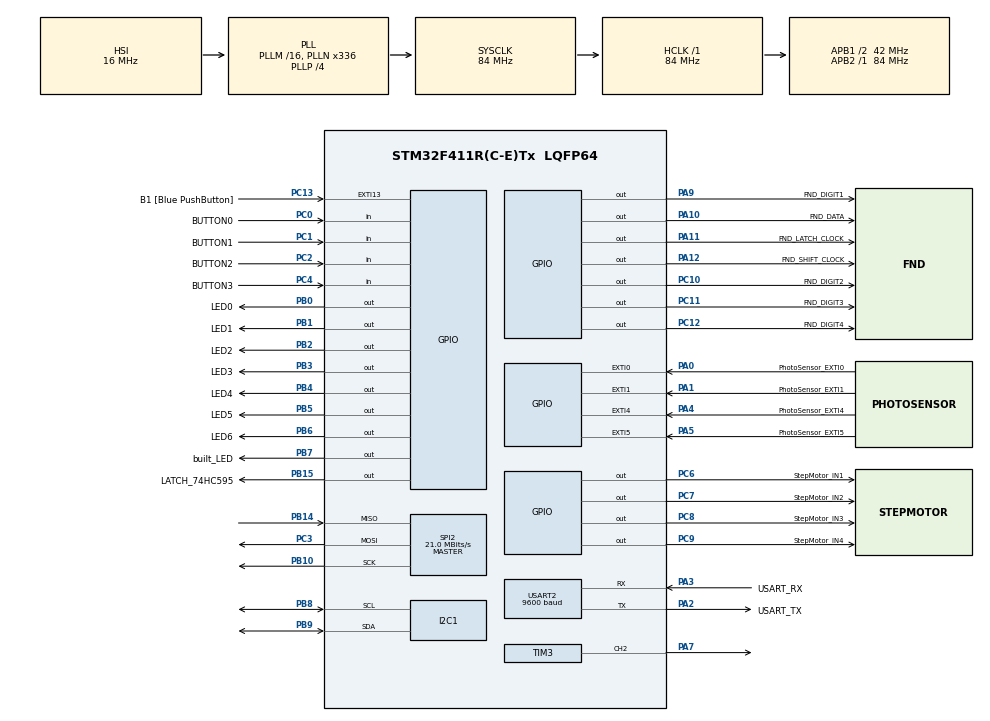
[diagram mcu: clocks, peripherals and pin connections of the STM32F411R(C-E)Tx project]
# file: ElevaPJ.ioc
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FREERTOS.Mutexes01=mutex_lcd,Dynamic,NULL
FREERTOS.Tasks01=defaultTask,24,128,StartDefaultTask,Default,NULL,Dynamic,NULL,NULL;StepMotorTask,8,128,ctrl_stepmotor,Default,NULL,Dynamic,NULL,NULL;DotMatrixTask,8,128,ctrl_dotmatrix,Default,NULL,Dynamic,NULL,NULL;FndTask,8,128,ctrl_fnd,Default,NULL,Dynamic,NULL,NULL;ServoMotorTask,8,128,ctrl_servomotor,Default,NULL,Dynamic,NULL,NULL
FREERTOS.configUSE_NEWLIB_REENTRANT=1
Mcu.Family=STM32F4
Mcu.Name=STM32F411R(C-E)Tx
Mcu.Package=LQFP64
NVIC.EXTI0_IRQn=true\:5\:0\:false\:false\:true\:true\:true\:true
NVIC.EXTI1_IRQn=true\:5\:0\:false\:false\:true\:true\:true\:true
NVIC.EXTI4_IRQn=true\:5\:0\:false\:false\:true\:true\:true\:true
NVIC.EXTI9_5_IRQn=true\:5\:0\:false\:false\:true\:true\:true\:true
NVIC.PriorityGroup=NVIC_PRIORITYGROUP_4
NVIC.TIM1_TRG_COM_TIM11_IRQn=true\:5\:0\:false\:false\:true\:true\:true\:true
NVIC.TIM1_UP_TIM10_IRQn=true\:5\:0\:false\:false\:true\:false\:false\:true
NVIC.TIM2_IRQn=true\:5\:0\:false\:false\:true\:true\:true\:true
NVIC.TIM3_IRQn=true\:5\:0\:false\:false\:true\:true\:true\:true
NVIC.TimeBase=TIM1_UP_TIM10_IRQn
NVIC.TimeBaseIP=TIM10
NVIC.USART2_IRQn=true\:5\:0\:false\:false\:true\:true\:true\:true
PA0-WKUP.GPIO_Label=PhotoSensor_EXTI0
PA0-WKUP.Signal=GPXTI0
PA1.GPIO_Label=PhotoSensor_EXTI1
PA1.Signal=GPXTI1
PA10.GPIO_Label=FND_DATA
PA10.Signal=GPIO_Output
PA11.GPIO_Label=FND_LATCH_CLOCK
PA11.Signal=GPIO_Output
PA12.GPIO_Label=FND_SHIFT_CLOCK
PA12.Signal=GPIO_Output
PA13.GPIO_Label=TMS
PA13.Mode=Serial_Wire
PA13.Signal=SYS_JTMS-SWDIO
PA14.GPIO_Label=TCK
PA14.Mode=Serial_Wire
PA14.Signal=SYS_JTCK-SWCLK
PA2.GPIO_Label=USART_TX
PA2.Mode=Asynchronous
PA2.Signal=USART2_TX
PA3.GPIO_Label=USART_RX
PA3.Mode=Asynchronous
PA3.Signal=USART2_RX
PA4.GPIO_Label=PhotoSensor_EXTI4
PA4.Signal=GPXTI4
PA5.GPIO_Label=PhotoSensor_EXTI5
PA5.Signal=GPXTI5
PA7.Signal=S_TIM3_CH2
PA9.GPIO_Label=FND_DIGIT1
PA9.Signal=GPIO_Output
PB0.GPIO_Label=LED0
PB0.Signal=GPIO_Output
PB1.GPIO_Label=LED1
PB1.Signal=GPIO_Output
PB10.Mode=Full_Duplex_Master
PB10.Signal=SPI2_SCK
PB14.Mode=Full_Duplex_Master
PB14.Signal=SPI2_MISO
PB15.GPIO_Label=LATCH_74HC595
PB15.Signal=GPIO_Output
PB2.GPIO_Label=LED2
PB2.Signal=GPIO_Output
PB3.GPIO_Label=LED3
PB3.Signal=GPIO_Output
PB4.GPIO_Label=LED4
PB4.Signal=GPIO_Output
PB5.GPIO_Label=LED5
PB5.Signal=GPIO_Output
PB6.GPIO_Label=LED6
PB6.Signal=GPIO_Output
PB7.GPIO_Label=built_LED
PB7.Signal=GPIO_Output
PB8.Mode=I2C
PB8.Signal=I2C1_SCL
PB9.Mode=I2C
PB9.Signal=I2C1_SDA
PC0.GPIO_Label=BUTTON0
PC0.Signal=GPIO_Input
PC1.GPIO_Label=BUTTON1
PC1.Signal=GPIO_Input
PC10.GPIO_Label=FND_DIGIT2
PC10.Signal=GPIO_Output
PC11.GPIO_Label=FND_DIGIT3
PC11.Signal=GPIO_Output
PC12.GPIO_Label=FND_DIGIT4
PC12.Signal=GPIO_Output
PC13-ANTI_TAMP.GPIO_Label=B1 [Blue PushButton]
PC13-ANTI_TAMP.GPIO_ModeDefaultEXTI=GPIO_MODE_IT_FALLING
PC13-ANTI_TAMP.Signal=GPXTI13
PC14-OSC32_IN.Mode=LSE-External-Oscillator
PC14-OSC32_IN.Signal=RCC_OSC32_IN
PC15-OSC32_OUT.Mode=LSE-External-Oscillator
PC15-OSC32_OUT.Signal=RCC_OSC32_OUT
PC2.GPIO_Label=BUTTON2
PC2.Signal=GPIO_Input
PC3.Mode=Full_Duplex_Master
PC3.Signal=SPI2_MOSI
PC4.GPIO_Label=BUTTON3
PC4.Signal=GPIO_Input
PC6.GPIO_Label=StepMotor_IN1
PC6.Signal=GPIO_Output
PC7.GPIO_Label=StepMotor_IN2
PC7.Signal=GPIO_Output
PC8.GPIO_Label=StepMotor_IN3
PC8.Signal=GPIO_Output
PC9.GPIO_Label=StepMotor_IN4
PC9.Signal=GPIO_Output
PH0\ -\ OSC_IN.Mode=HSE-External-Clock-Source
PH0\ -\ OSC_IN.Signal=RCC_OSC_IN
PH1\ -\ OSC_OUT.Mode=HSE-External-Clock-Source
PH1\ -\ OSC_OUT.Signal=RCC_OSC_OUT
ProjectManager.HeapSize=0x200
ProjectManager.StackSize=0x400
ProjectManager.TargetToolchain=STM32CubeIDE
RCC.48MHZClocksFreq_Value=84000000
RCC.AHBFreq_Value=84000000
RCC.APB1CLKDivider=RCC_HCLK_DIV2
RCC.APB1Freq_Value=42000000
RCC.APB1TimFreq_Value=84000000
RCC.APB2Freq_Value=84000000
RCC.APB2TimFreq_Value=84000000
RCC.CortexFreq_Value=84000000
RCC.FLatency-AdvancedSettings=FLASH_LATENCY_2
RCC.HCLKFreq_Value=84000000
RCC.HSE_VALUE=8000000
RCC.HSI_VALUE=16000000
RCC.PLLN=336
RCC.PLLP=RCC_PLLP_DIV4
RCC.SYSCLKFreq_VALUE=84000000
RCC.SYSCLKSource=RCC_SYSCLKSOURCE_PLLCLK
RCC.VCOOutputFreq_Value=336000000
RTC.Date=24
RTC.Hours=13
RTC.Minutes=22
RTC.Month=RTC_MONTH_MAY
RTC.WeekDay=RTC_WEEKDAY_FRIDAY
RTC.Year=24
SH.S_TIM3_CH2.0=TIM3_CH2,PWM Generation2 CH2
SPI2.CalculateBaudRate=21.0 MBits/s
SPI2.Direction=SPI_DIRECTION_2LINES
SPI2.Mode=SPI_MODE_MASTER
SPI2.VirtualType=VM_MASTER
TIM11.Period=65535
TIM11.Prescaler=84-1
TIM2.Period=1000-1
TIM2.Prescaler=84-1
TIM3.Channel-PWM\ Generation2\ CH2=TIM_CHANNEL_2
TIM3.Period=1000-1
TIM3.Prescaler=1680-1
USART2.BaudRate=9600
USART2.VirtualMode=VM_ASYNC
VP_FREERTOS_VS_CMSIS_V2.Mode=CMSIS_V2
VP_RTC_VS_RTC_Activate.Mode=RTC_Enabled
VP_RTC_VS_RTC_Calendar.Mode=RTC_Calendar
VP_SYS_VS_tim10.Mode=TIM10
VP_TIM11_VS_ClockSourceINT.Mode=Enable_Timer
VP_TIM2_VS_ClockSourceINT.Mode=Internal
VP_TIM3_VS_ClockSourceINT.Mode=Internal
board=NUCLEO-F411RE

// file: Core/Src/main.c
/* USER CODE BEGIN Header */
/**
  ******************************************************************************
  * @file           : main.c
  * @brief          : Main program body
  ******************************************************************************
  * @attention
  *
  * <h2><center>&copy; Copyright (c) 2024 STMicroelectronics.
  * All rights reserved.</center></h2>
  *
  * This software component is licensed by ST under BSD 3-Clause license,
  * the "License"; You may not use this file except in compliance with the
  * License. You may obtain a copy of the License at:
  *                        opensource.org/licenses/BSD-3-Clause
  *
  ******************************************************************************
  */
/* USER CODE END Header */
#include "main.h"
#include "cmsis_os.h"

/* USER CODE BEGIN Includes */
#include "def.h"
#include "extern.h"
#include "button.h"
#include "elevator.h"
#include "fnd.h"
/* USER CODE END Includes */

I2C_HandleTypeDef hi2c1;

RTC_HandleTypeDef hrtc;

SPI_HandleTypeDef hspi2;

TIM_HandleTypeDef htim2;
TIM_HandleTypeDef htim3;
TIM_HandleTypeDef htim11;

UART_HandleTypeDef huart2;

/* Definitions for defaultTask */
osThreadId_t defaultTaskHandle;
const osThreadAttr_t defaultTask_attributes = {
  .name = "defaultTask",
  .stack_size = 128 * 4,
  .priority = (osPriority_t) osPriorityNormal,
};
/* Definitions for StepMotorTask */
osThreadId_t StepMotorTaskHandle;
const osThreadAttr_t StepMotorTask_attributes = {
  .name = "StepMotorTask",
  .stack_size = 128 * 4,
  .priority = (osPriority_t) osPriorityLow,
};
/* Definitions for DotMatrixTask */
osThreadId_t DotMatrixTaskHandle;
const osThreadAttr_t DotMatrixTask_attributes = {
  .name = "DotMatrixTask",
  .stack_size = 128 * 4,
  .priority = (osPriority_t) osPriorityLow,
};
/* Definitions for FndTask */
osThreadId_t FndTaskHandle;
const osThreadAttr_t FndTask_attributes = {
  .name = "FndTask",
  .stack_size = 128 * 4,
  .priority = (osPriority_t) osPriorityLow,
};
/* Definitions for ServoMotorTask */
osThreadId_t ServoMotorTaskHandle;
const osThreadAttr_t ServoMotorTask_attributes = {
  .name = "ServoMotorTask",
  .stack_size = 128 * 4,
  .priority = (osPriority_t) osPriorityLow,
};
/* Definitions for mutex_lcd */
osMutexId_t mutex_lcdHandle;
const osMutexAttr_t mutex_lcd_attributes = {
  .name = "mutex_lcd"
};
/* USER CODE BEGIN PV */
uint8_t rx_data;

volatile int TIM2_1ms_counter=0;
volatile int TIM2_1ms_DOT_counter=0;
volatile int TIM2_1ms_FND_counter=0;
volatile int TIM2_74HC595_counter=0;
volatile int TIM2_servo_open_time=0;
volatile int TIM2_off_servo_time = 0;

/* USER CODE END PV */

void SystemClock_Config(void);
static void MX_GPIO_Init(void);
static void MX_USART2_UART_Init(void);
static void MX_TIM11_Init(void);
static void MX_TIM2_Init(void);
static void MX_RTC_Init(void);
static void MX_I2C1_Init(void);
static void MX_SPI2_Init(void);
static void MX_TIM3_Init(void);
void StartDefaultTask(void *argument);
void ctrl_stepmotor(void *argument);
void ctrl_dotmatrix(void *argument);
void ctrl_fnd(void *argument);
void ctrl_servomotor(void *argument);

/* USER CODE BEGIN 0 */
//-- call by SysTick_Handler of stm32f4xx_it.c
// SysTick_Handler : ARM core default timer
volatile int t1ms_counter=0;
void HAL_SYSTICK_Handler()
{
	t1ms_counter++;   // 1ms timer counter
}
//------------ printf start -----------------------
#ifdef __GNUC__    // Add for printf
/* With GCC, small printf (option LD Linker->Libraries->Small printf
   set to 'Yes') calls __io_putchar() */
#define PUTCHAR_PROTOTYPE int __io_putchar(int ch)
#else
#define PUTCHAR_PROTOTYPE int fputc(int ch, FILE *f)
#endif /* __GNUC__ */
/**
  * @brief  Retargets the C library printf function to the USART.
  * @param  None
  * @retval None
  */
PUTCHAR_PROTOTYPE   // Add for printf
{
  /* Place your implementation of fputc here */
  /* e.g. write a character to the USART2 and Loop until the end of transmission */
  HAL_UART_Transmit(&huart2, (uint8_t *)&ch, 1, 0xFFFF);

  return ch;
}
//-------------------- printf end --------------------
/* USER CODE END 0 */

int main(void)
{

  /* MCU Configuration--------------------------------------------------------*/

  /* Reset of all peripherals, Initializes the Flash interface and the Systick. */
  HAL_Init();

  /* Configure the system clock */
  SystemClock_Config();

  /* Initialize all configured peripherals */
  MX_GPIO_Init();
  MX_USART2_UART_Init();
  MX_TIM11_Init();
  MX_TIM2_Init();
  MX_RTC_Init();
  MX_I2C1_Init();
  MX_SPI2_Init();
  MX_TIM3_Init();
  /* USER CODE BEGIN 2 */
  HAL_UART_Receive_IT(&huart2, &rx_data, 1);   // assign RX INT
  HAL_TIM_Base_Start_IT(&htim2);  // ADD_MIKE_0523
  HAL_TIM_Base_Start_IT(&htim11);  // ADD_MIKE_0523
  HAL_TIM_PWM_Start(&htim3, TIM_CHANNEL_2); // ADD_PWM_SERVO_MOTOR

  /* USER CODE END 2 */

  /* Init scheduler */
  osKernelInitialize();
  /* Create the mutex(es) */
  /* creation of mutex_lcd */
  mutex_lcdHandle = osMutexNew(&mutex_lcd_attributes);

  /* Create the thread(s) */
  /* creation of defaultTask */
  defaultTaskHandle = osThreadNew(StartDefaultTask, NULL, &defaultTask_attributes);

  /* creation of StepMotorTask */
  StepMotorTaskHandle = osThreadNew(ctrl_stepmotor, NULL, &StepMotorTask_attributes);

  /* creation of DotMatrixTask */
  DotMatrixTaskHandle = osThreadNew(ctrl_dotmatrix, NULL, &DotMatrixTask_attributes);

  /* creation of FndTask */
  FndTaskHandle = osThreadNew(ctrl_fnd, NULL, &FndTask_attributes);

  /* creation of ServoMotorTask */
  ServoMotorTaskHandle = osThreadNew(ctrl_servomotor, NULL, &ServoMotorTask_attributes);

  /* Start scheduler */
  osKernelStart();

  /* We should never get here as control is now taken by the scheduler */
  /* Infinite loop */
  while (1)
  {

  }
}

void SystemClock_Config(void)
{
  RCC_OscInitTypeDef RCC_OscInitStruct = {0};
  RCC_ClkInitTypeDef RCC_ClkInitStruct = {0};

  /** Configure the main internal regulator output voltage
  */
  __HAL_RCC_PWR_CLK_ENABLE();
  __HAL_PWR_VOLTAGESCALING_CONFIG(PWR_REGULATOR_VOLTAGE_SCALE1);
  /** Initializes the RCC Oscillators according to the specified parameters
  * in the RCC_OscInitTypeDef structure.
  */
  RCC_OscInitStruct.OscillatorType = RCC_OSCILLATORTYPE_HSI|RCC_OSCILLATORTYPE_LSI;
  RCC_OscInitStruct.HSIState = RCC_HSI_ON;
  RCC_OscInitStruct.HSICalibrationValue = RCC_HSICALIBRATION_DEFAULT;
  RCC_OscInitStruct.LSIState = RCC_LSI_ON;
  RCC_OscInitStruct.PLL.PLLState = RCC_PLL_ON;
  RCC_OscInitStruct.PLL.PLLSource = RCC_PLLSOURCE_HSI;
  RCC_OscInitStruct.PLL.PLLM = 16;
  RCC_OscInitStruct.PLL.PLLN = 336;
  RCC_OscInitStruct.PLL.PLLP = RCC_PLLP_DIV4;
  RCC_OscInitStruct.PLL.PLLQ = 4;
  if (HAL_RCC_OscConfig(&RCC_OscInitStruct) != HAL_OK)
  {
    Error_Handler();
  }
  /** Initializes the CPU, AHB and APB buses clocks
  */
  RCC_ClkInitStruct.ClockType = RCC_CLOCKTYPE_HCLK|RCC_CLOCKTYPE_SYSCLK
                              |RCC_CLOCKTYPE_PCLK1|RCC_CLOCKTYPE_PCLK2;
  RCC_ClkInitStruct.SYSCLKSource = RCC_SYSCLKSOURCE_PLLCLK;
  RCC_ClkInitStruct.AHBCLKDivider = RCC_SYSCLK_DIV1;
  RCC_ClkInitStruct.APB1CLKDivider = RCC_HCLK_DIV2;
  RCC_ClkInitStruct.APB2CLKDivider = RCC_HCLK_DIV1;

  if (HAL_RCC_ClockConfig(&RCC_ClkInitStruct, FLASH_LATENCY_2) != HAL_OK)
  {
    Error_Handler();
  }
}

static void MX_I2C1_Init(void)
{

  hi2c1.Instance = I2C1;
  hi2c1.Init.ClockSpeed = 100000;
  hi2c1.Init.DutyCycle = I2C_DUTYCYCLE_2;
  hi2c1.Init.OwnAddress1 = 0;
  hi2c1.Init.AddressingMode = I2C_ADDRESSINGMODE_7BIT;
  hi2c1.Init.DualAddressMode = I2C_DUALADDRESS_DISABLE;
  hi2c1.Init.OwnAddress2 = 0;
  hi2c1.Init.GeneralCallMode = I2C_GENERALCALL_DISABLE;
  hi2c1.Init.NoStretchMode = I2C_NOSTRETCH_DISABLE;
  if (HAL_I2C_Init(&hi2c1) != HAL_OK)
  {
    Error_Handler();
  }

}

static void MX_RTC_Init(void)
{

  RTC_TimeTypeDef sTime = {0};
  RTC_DateTypeDef sDate = {0};

  /** Initialize RTC Only
  */
  hrtc.Instance = RTC;
  hrtc.Init.HourFormat = RTC_HOURFORMAT_24;
  hrtc.Init.AsynchPrediv = 127;
  hrtc.Init.SynchPrediv = 255;
  hrtc.Init.OutPut = RTC_OUTPUT_DISABLE;
  hrtc.Init.OutPutPolarity = RTC_OUTPUT_POLARITY_HIGH;
  hrtc.Init.OutPutType = RTC_OUTPUT_TYPE_OPENDRAIN;
  if (HAL_RTC_Init(&hrtc) != HAL_OK)
  {
    Error_Handler();
  }

  /** Initialize RTC and set the Time and Date
  */
  sTime.Hours = 0x13;
  sTime.Minutes = 0x22;
  sTime.Seconds = 0x0;
  sTime.DayLightSaving = RTC_DAYLIGHTSAVING_NONE;
  sTime.StoreOperation = RTC_STOREOPERATION_RESET;
  if (HAL_RTC_SetTime(&hrtc, &sTime, RTC_FORMAT_BCD) != HAL_OK)
  {
    Error_Handler();
  }
  sDate.WeekDay = RTC_WEEKDAY_FRIDAY;
  sDate.Month = RTC_MONTH_MAY;
  sDate.Date = 0x24;
  sDate.Year = 0x24;

  if (HAL_RTC_SetDate(&hrtc, &sDate, RTC_FORMAT_BCD) != HAL_OK)
  {
    Error_Handler();
  }

}

static void MX_SPI2_Init(void)
{

  /* SPI2 parameter configuration*/
  hspi2.Instance = SPI2;
  hspi2.Init.Mode = SPI_MODE_MASTER;
  hspi2.Init.Direction = SPI_DIRECTION_2LINES;
  hspi2.Init.DataSize = SPI_DATASIZE_8BIT;
  hspi2.Init.CLKPolarity = SPI_POLARITY_LOW;
  hspi2.Init.CLKPhase = SPI_PHASE_1EDGE;
  hspi2.Init.NSS = SPI_NSS_SOFT;
  hspi2.Init.BaudRatePrescaler = SPI_BAUDRATEPRESCALER_2;
  hspi2.Init.FirstBit = SPI_FIRSTBIT_MSB;
  hspi2.Init.TIMode = SPI_TIMODE_DISABLE;
  hspi2.Init.CRCCalculation = SPI_CRCCALCULATION_DISABLE;
  hspi2.Init.CRCPolynomial = 10;
  if (HAL_SPI_Init(&hspi2) != HAL_OK)
  {
    Error_Handler();
  }

}

static void MX_TIM2_Init(void)
{

  TIM_ClockConfigTypeDef sClockSourceConfig = {0};
  TIM_MasterConfigTypeDef sMasterConfig = {0};

  htim2.Instance = TIM2;
  htim2.Init.Prescaler = 84-1;
  htim2.Init.CounterMode = TIM_COUNTERMODE_UP;
  htim2.Init.Period = 1000-1;
  htim2.Init.ClockDivision = TIM_CLOCKDIVISION_DIV1;
  htim2.Init.AutoReloadPreload = TIM_AUTORELOAD_PRELOAD_DISABLE;
  if (HAL_TIM_Base_Init(&htim2) != HAL_OK)
  {
    Error_Handler();
  }
  sClockSourceConfig.ClockSource = TIM_CLOCKSOURCE_INTERNAL;
  if (HAL_TIM_ConfigClockSource(&htim2, &sClockSourceConfig) != HAL_OK)
  {
    Error_Handler();
  }
  sMasterConfig.MasterOutputTrigger = TIM_TRGO_RESET;
  sMasterConfig.MasterSlaveMode = TIM_MASTERSLAVEMODE_DISABLE;
  if (HAL_TIMEx_MasterConfigSynchronization(&htim2, &sMasterConfig) != HAL_OK)
  {
    Error_Handler();
  }

}

static void MX_TIM3_Init(void)
{

  TIM_ClockConfigTypeDef sClockSourceConfig = {0};
  TIM_MasterConfigTypeDef sMasterConfig = {0};
  TIM_OC_InitTypeDef sConfigOC = {0};

  htim3.Instance = TIM3;
  htim3.Init.Prescaler = 1680-1;
  htim3.Init.CounterMode = TIM_COUNTERMODE_UP;
  htim3.Init.Period = 1000-1;
  htim3.Init.ClockDivision = TIM_CLOCKDIVISION_DIV1;
  htim3.Init.AutoReloadPreload = TIM_AUTORELOAD_PRELOAD_DISABLE;
  if (HAL_TIM_Base_Init(&htim3) != HAL_OK)
  {
    Error_Handler();
  }
  sClockSourceConfig.ClockSource = TIM_CLOCKSOURCE_INTERNAL;
  if (HAL_TIM_ConfigClockSource(&htim3, &sClockSourceConfig) != HAL_OK)
  {
    Error_Handler();
  }
  if (HAL_TIM_PWM_Init(&htim3) != HAL_OK)
  {
    Error_Handler();
  }
  sMasterConfig.MasterOutputTrigger = TIM_TRGO_RESET;
  sMasterConfig.MasterSlaveMode = TIM_MASTERSLAVEMODE_DISABLE;
  if (HAL_TIMEx_MasterConfigSynchronization(&htim3, &sMasterConfig) != HAL_OK)
  {
    Error_Handler();
  }
  sConfigOC.OCMode = TIM_OCMODE_PWM1;
  sConfigOC.Pulse = 0;
  sConfigOC.OCPolarity = TIM_OCPOLARITY_HIGH;
  sConfigOC.OCFastMode = TIM_OCFAST_DISABLE;
  if (HAL_TIM_PWM_ConfigChannel(&htim3, &sConfigOC, TIM_CHANNEL_2) != HAL_OK)
  {
    Error_Handler();
  }
  HAL_TIM_MspPostInit(&htim3);

}

static void MX_TIM11_Init(void)
{

  htim11.Instance = TIM11;
  htim11.Init.Prescaler = 84-1;
  htim11.Init.CounterMode = TIM_COUNTERMODE_UP;
  htim11.Init.Period = 65535;
  htim11.Init.ClockDivision = TIM_CLOCKDIVISION_DIV1;
  htim11.Init.AutoReloadPreload = TIM_AUTORELOAD_PRELOAD_DISABLE;
  if (HAL_TIM_Base_Init(&htim11) != HAL_OK)
  {
    Error_Handler();
  }

}

static void MX_USART2_UART_Init(void)
{

  huart2.Instance = USART2;
  huart2.Init.BaudRate = 9600;
  huart2.Init.WordLength = UART_WORDLENGTH_8B;
  huart2.Init.StopBits = UART_STOPBITS_1;
  huart2.Init.Parity = UART_PARITY_NONE;
  huart2.Init.Mode = UART_MODE_TX_RX;
  huart2.Init.HwFlowCtl = UART_HWCONTROL_NONE;
  huart2.Init.OverSampling = UART_OVERSAMPLING_16;
  if (HAL_UART_Init(&huart2) != HAL_OK)
  {
    Error_Handler();
  }

}

static void MX_GPIO_Init(void)
{
  GPIO_InitTypeDef GPIO_InitStruct = {0};

  /* GPIO Ports Clock Enable */
  __HAL_RCC_GPIOC_CLK_ENABLE();
  __HAL_RCC_GPIOH_CLK_ENABLE();
  __HAL_RCC_GPIOA_CLK_ENABLE();
  __HAL_RCC_GPIOB_CLK_ENABLE();

  /*Configure GPIO pin Output Level */
  HAL_GPIO_WritePin(GPIOB, LED0_Pin|LED1_Pin|LED2_Pin|LATCH_74HC595_Pin
                          |LED3_Pin|LED4_Pin|LED5_Pin|LED6_Pin
                          |built_LED_Pin, GPIO_PIN_RESET);

  /*Configure GPIO pin Output Level */
  HAL_GPIO_WritePin(GPIOC, StepMotor_IN1_Pin|StepMotor_IN2_Pin|StepMotor_IN3_Pin|StepMotor_IN4_Pin
                          |FND_DIGIT2_Pin|FND_DIGIT3_Pin|FND_DIGIT4_Pin, GPIO_PIN_RESET);

  /*Configure GPIO pin Output Level */
  HAL_GPIO_WritePin(GPIOA, FND_DIGIT1_Pin|FND_DATA_Pin|FND_LATCH_CLOCK_Pin|FND_SHIFT_CLOCK_Pin, GPIO_PIN_RESET);

  /*Configure GPIO pin : B1_Pin */
  GPIO_InitStruct.Pin = B1_Pin;
  GPIO_InitStruct.Mode = GPIO_MODE_IT_FALLING;
  GPIO_InitStruct.Pull = GPIO_NOPULL;
  HAL_GPIO_Init(B1_GPIO_Port, &GPIO_InitStruct);

  /*Configure GPIO pins : BUTTON0_Pin BUTTON1_Pin BUTTON2_Pin BUTTON3_Pin */
  GPIO_InitStruct.Pin = BUTTON0_Pin|BUTTON1_Pin|BUTTON2_Pin|BUTTON3_Pin;
  GPIO_InitStruct.Mode = GPIO_MODE_INPUT;
  GPIO_InitStruct.Pull = GPIO_NOPULL;
  HAL_GPIO_Init(GPIOC, &GPIO_InitStruct);

  /*Configure GPIO pins : PhotoSensor_EXTI0_Pin PhotoSensor_EXTI1_Pin PhotoSensor_EXTI4_Pin PhotoSensor_EXTI5_Pin */
  GPIO_InitStruct.Pin = PhotoSensor_EXTI0_Pin|PhotoSensor_EXTI1_Pin|PhotoSensor_EXTI4_Pin|PhotoSensor_EXTI5_Pin;
  GPIO_InitStruct.Mode = GPIO_MODE_IT_RISING;
  GPIO_InitStruct.Pull = GPIO_NOPULL;
  HAL_GPIO_Init(GPIOA, &GPIO_InitStruct);

  /*Configure GPIO pins : LED0_Pin LED1_Pin LED2_Pin LATCH_74HC595_Pin
                           LED3_Pin LED4_Pin LED5_Pin LED6_Pin
                           built_LED_Pin */
  GPIO_InitStruct.Pin = LED0_Pin|LED1_Pin|LED2_Pin|LATCH_74HC595_Pin
                          |LED3_Pin|LED4_Pin|LED5_Pin|LED6_Pin
                          |built_LED_Pin;
  GPIO_InitStruct.Mode = GPIO_MODE_OUTPUT_PP;
  GPIO_InitStruct.Pull = GPIO_NOPULL;
  GPIO_InitStruct.Speed = GPIO_SPEED_FREQ_LOW;
  HAL_GPIO_Init(GPIOB, &GPIO_InitStruct);

  /*Configure GPIO pins : StepMotor_IN1_Pin StepMotor_IN2_Pin StepMotor_IN3_Pin StepMotor_IN4_Pin
                           FND_DIGIT2_Pin FND_DIGIT3_Pin FND_DIGIT4_Pin */
  GPIO_InitStruct.Pin = StepMotor_IN1_Pin|StepMotor_IN2_Pin|StepMotor_IN3_Pin|StepMotor_IN4_Pin
                          |FND_DIGIT2_Pin|FND_DIGIT3_Pin|FND_DIGIT4_Pin;
  GPIO_InitStruct.Mode = GPIO_MODE_OUTPUT_PP;
  GPIO_InitStruct.Pull = GPIO_NOPULL;
  GPIO_InitStruct.Speed = GPIO_SPEED_FREQ_LOW;
  HAL_GPIO_Init(GPIOC, &GPIO_InitStruct);

  /*Configure GPIO pins : FND_DIGIT1_Pin FND_DATA_Pin FND_LATCH_CLOCK_Pin FND_SHIFT_CLOCK_Pin */
  GPIO_InitStruct.Pin = FND_DIGIT1_Pin|FND_DATA_Pin|FND_LATCH_CLOCK_Pin|FND_SHIFT_CLOCK_Pin;
  GPIO_InitStruct.Mode = GPIO_MODE_OUTPUT_PP;
  GPIO_InitStruct.Pull = GPIO_NOPULL;
  GPIO_InitStruct.Speed = GPIO_SPEED_FREQ_LOW;
  HAL_GPIO_Init(GPIOA, &GPIO_InitStruct);

  /* EXTI interrupt init*/
  HAL_NVIC_SetPriority(EXTI0_IRQn, 5, 0);
  HAL_NVIC_EnableIRQ(EXTI0_IRQn);

  HAL_NVIC_SetPriority(EXTI1_IRQn, 5, 0);
  HAL_NVIC_EnableIRQ(EXTI1_IRQn);

  HAL_NVIC_SetPriority(EXTI4_IRQn, 5, 0);
  HAL_NVIC_EnableIRQ(EXTI4_IRQn);

  HAL_NVIC_SetPriority(EXTI9_5_IRQn, 5, 0);
  HAL_NVIC_EnableIRQ(EXTI9_5_IRQn);

}

void StartDefaultTask(void *argument)
{
  /* USER CODE BEGIN 5 */
	elevator_init();
  /* Infinite loop */
  for(;;)  // while(1)
  {
	choose_eleva_floor2();
	  move_direct_check();
	  osDelay(1);
  }
  /* USER CODE END 5 */
}

void ctrl_stepmotor(void *argument)
{
  /* USER CODE BEGIN ctrl_stepmotor */
  /* Infinite loop */
  for(;;)
  {
//	  perform_motor_step_backward();
//	  perform_motor_step_forward();
	  ctrl_stepmotor_eleva(get_curr_eleva_state());
    osDelay(1);
  }
  /* USER CODE END ctrl_stepmotor */
}

void ctrl_dotmatrix(void *argument)
{
  /* USER CODE BEGIN ctrl_dotmatrix */
  /* Infinite loop */
  for(;;)
  {
	 // dotmatrix_main_test();
	  // TODO
	control_dotmatrix(get_curr_eleva_state());
	  //dotmatrix_main();
//	  dotmatrix_main_test();
    osDelay(1);
  }
  /* USER CODE END ctrl_dotmatrix */
}

void ctrl_fnd(void *argument)
{
  /* USER CODE BEGIN ctrl_fnd */
	init_fnd();
  /* Infinite loop */
  for(;;)
  {
	fnd_display();
    osDelay(1);
  }
  /* USER CODE END ctrl_fnd */
}

void ctrl_servomotor(void *argument)
{
  /* USER CODE BEGIN ctrl_servomotor */
	init_servo_LOCKED();
  /* Infinite loop */
  for(;;)
  {
	  servo_motor_main();
    osDelay(1);
  }
  /* USER CODE END ctrl_servomotor */
}

void HAL_TIM_PeriodElapsedCallback(TIM_HandleTypeDef *htim)
{
  /* USER CODE BEGIN Callback 0 */
//////
  /* USER CODE END Callback 0 */
  if (htim->Instance == TIM10) {
    HAL_IncTick();
  }
  /* USER CODE BEGIN Callback 1 */
	if (htim->Instance == TIM2)
	{
		TIM2_1ms_counter++;
		TIM2_1ms_DOT_counter++;
		TIM2_1ms_FND_counter++;
		TIM2_74HC595_counter++;
		TIM2_servo_open_time++;
		TIM2_off_servo_time++;
	}
  /* USER CODE END Callback 1 */
}

void Error_Handler(void)
{
  __disable_irq();
  while (1)
  {
  }
}

/************************ (C) COPYRIGHT STMicroelectronics *****END OF FILE****/
